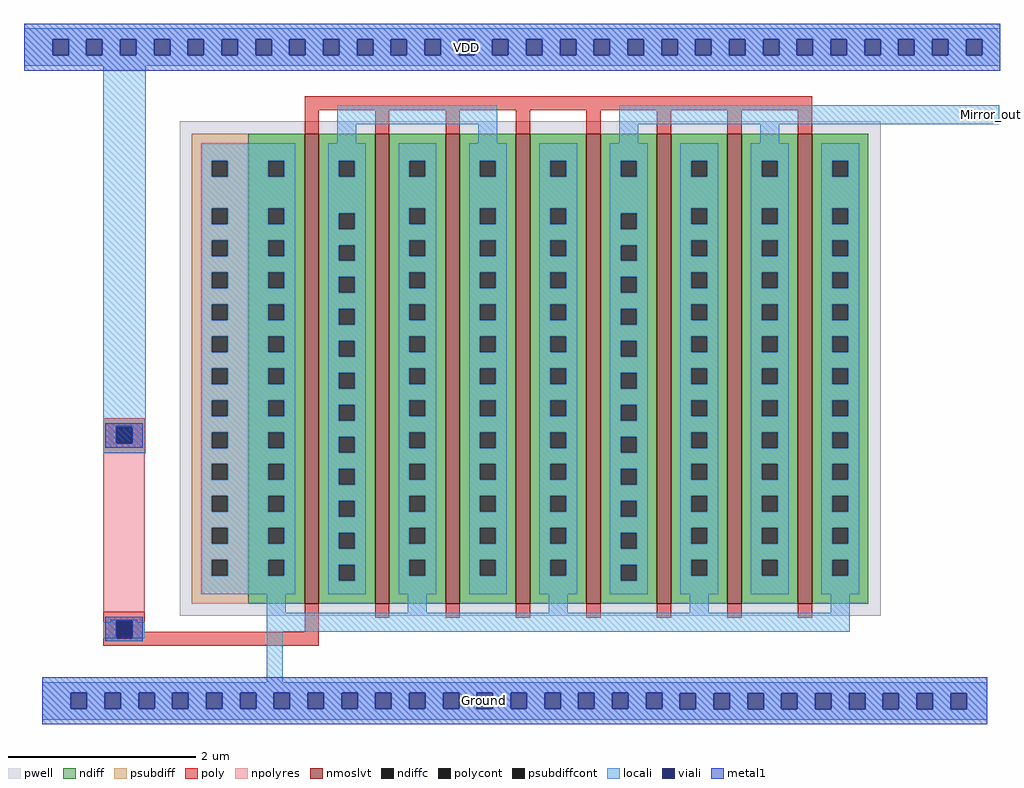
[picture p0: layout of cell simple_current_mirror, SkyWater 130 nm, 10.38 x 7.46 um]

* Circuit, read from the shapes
.subckt simple_current_mirror Ground VDD Mirror_out
XM1 n1 n2 Ground Ground sky130_fd_pr__nfet_01v8_lvt w=5 l=0.15 m=4
XM2 Mirror_out n2 Ground Ground sky130_fd_pr__nfet_01v8_lvt w=5 l=0.15 m=4
R3 VDD n2 sky130_fd_pr__res_generic_po w=0.44 l=1.69
.ends

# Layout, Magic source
magic
tech sky130A
magscale 1 2
<< poly >>
rect 778 1110 898 1140
rect 298 0 328 30
rect -50 -30 328 0
<< locali >>
rect -299 1261 1778 1284
rect -299 1227 -238 1261
rect -204 1227 -166 1261
rect -132 1227 -94 1261
rect -60 1227 -22 1261
rect 12 1227 50 1261
rect 84 1227 122 1261
rect 156 1227 194 1261
rect 228 1227 266 1261
rect 300 1227 338 1261
rect 372 1227 410 1261
rect 444 1227 482 1261
rect 516 1227 554 1261
rect 588 1227 626 1261
rect 660 1227 698 1261
rect 732 1227 770 1261
rect 804 1227 842 1261
rect 876 1227 914 1261
rect 948 1227 986 1261
rect 1020 1227 1058 1261
rect 1092 1227 1130 1261
rect 1164 1227 1202 1261
rect 1236 1227 1274 1261
rect 1308 1227 1346 1261
rect 1380 1227 1418 1261
rect 1452 1227 1490 1261
rect 1524 1227 1562 1261
rect 1596 1227 1634 1261
rect 1668 1227 1706 1261
rect 1740 1227 1778 1261
rect -299 1204 1778 1227
rect -130 380 -40 1204
rect 1308 1080 1776 1120
rect 218 -107 252 0
rect -260 -130 1751 -107
rect -260 -164 -199 -130
rect -165 -164 -127 -130
rect -93 -164 -55 -130
rect -21 -164 17 -130
rect 51 -164 89 -130
rect 123 -164 161 -130
rect 195 -164 233 -130
rect 267 -164 305 -130
rect 339 -164 377 -130
rect 411 -164 449 -130
rect 483 -164 521 -130
rect 555 -164 593 -130
rect 627 -164 665 -130
rect 699 -164 737 -130
rect 771 -164 809 -130
rect 843 -164 881 -130
rect 915 -164 953 -130
rect 987 -164 1025 -130
rect 1059 -131 1751 -130
rect 1059 -164 1097 -131
rect -260 -165 1097 -164
rect 1131 -165 1169 -131
rect 1203 -165 1241 -131
rect 1275 -165 1313 -131
rect 1347 -165 1385 -131
rect 1419 -165 1457 -131
rect 1491 -165 1529 -131
rect 1563 -165 1601 -131
rect 1635 -165 1673 -131
rect 1707 -165 1751 -131
rect -260 -187 1751 -165
<< viali >>
rect -238 1227 -204 1261
rect -166 1227 -132 1261
rect -94 1227 -60 1261
rect -22 1227 12 1261
rect 50 1227 84 1261
rect 122 1227 156 1261
rect 194 1227 228 1261
rect 266 1227 300 1261
rect 338 1227 372 1261
rect 410 1227 444 1261
rect 482 1227 516 1261
rect 554 1227 588 1261
rect 626 1227 660 1261
rect 698 1227 732 1261
rect 770 1227 804 1261
rect 842 1227 876 1261
rect 914 1227 948 1261
rect 986 1227 1020 1261
rect 1058 1227 1092 1261
rect 1130 1227 1164 1261
rect 1202 1227 1236 1261
rect 1274 1227 1308 1261
rect 1346 1227 1380 1261
rect 1418 1227 1452 1261
rect 1490 1227 1524 1261
rect 1562 1227 1596 1261
rect 1634 1227 1668 1261
rect 1706 1227 1740 1261
rect -199 -164 -165 -130
rect -127 -164 -93 -130
rect -55 -164 -21 -130
rect 17 -164 51 -130
rect 89 -164 123 -130
rect 161 -164 195 -130
rect 233 -164 267 -130
rect 305 -164 339 -130
rect 377 -164 411 -130
rect 449 -164 483 -130
rect 521 -164 555 -130
rect 593 -164 627 -130
rect 665 -164 699 -130
rect 737 -164 771 -130
rect 809 -164 843 -130
rect 881 -164 915 -130
rect 953 -164 987 -130
rect 1025 -164 1059 -130
rect 1097 -165 1131 -131
rect 1169 -165 1203 -131
rect 1241 -165 1275 -131
rect 1313 -165 1347 -131
rect 1385 -165 1419 -131
rect 1457 -165 1491 -131
rect 1529 -165 1563 -131
rect 1601 -165 1635 -131
rect 1673 -165 1707 -131
<< metal1 >>
rect -299 1261 1778 1294
rect -299 1227 -238 1261
rect -204 1227 -166 1261
rect -132 1227 -94 1261
rect -60 1227 -22 1261
rect 12 1227 50 1261
rect 84 1227 122 1261
rect 156 1227 194 1261
rect 228 1227 266 1261
rect 300 1227 338 1261
rect 372 1227 410 1261
rect 444 1227 482 1261
rect 516 1227 554 1261
rect 588 1227 626 1261
rect 660 1227 698 1261
rect 732 1227 770 1261
rect 804 1227 842 1261
rect 876 1227 914 1261
rect 948 1227 986 1261
rect 1020 1227 1058 1261
rect 1092 1227 1130 1261
rect 1164 1227 1202 1261
rect 1236 1227 1274 1261
rect 1308 1227 1346 1261
rect 1380 1227 1418 1261
rect 1452 1227 1490 1261
rect 1524 1227 1562 1261
rect 1596 1227 1634 1261
rect 1668 1227 1706 1261
rect 1740 1227 1778 1261
rect -299 1194 1778 1227
rect -260 -130 1751 -97
rect -260 -164 -199 -130
rect -165 -164 -127 -130
rect -93 -164 -55 -130
rect -21 -164 17 -130
rect 51 -164 89 -130
rect 123 -164 161 -130
rect 195 -164 233 -130
rect 267 -164 305 -130
rect 339 -164 377 -130
rect 411 -164 449 -130
rect 483 -164 521 -130
rect 555 -164 593 -130
rect 627 -164 665 -130
rect 699 -164 737 -130
rect 771 -164 809 -130
rect 843 -164 881 -130
rect 915 -164 953 -130
rect 987 -164 1025 -130
rect 1059 -131 1751 -130
rect 1059 -164 1097 -131
rect -260 -165 1097 -164
rect 1131 -165 1169 -131
rect 1203 -165 1241 -131
rect 1275 -165 1313 -131
rect 1347 -165 1385 -131
rect 1419 -165 1457 -131
rect 1491 -165 1529 -131
rect 1563 -165 1601 -131
rect 1635 -165 1673 -131
rect 1707 -165 1751 -131
rect -260 -197 1751 -165
use nmos_1v8_lvt_5p0_4finger  nmos_1v8_lvt_5p0_4finger_0
transform 1 0 1888 0 1 40
box -1136 -40 -364 1100
use nmos_1v8_lvt_5p0_body_4finger  nmos_1v8_lvt_5p0_body_4finger_0
transform 1 0 1288 0 1 40
box -1256 -40 -364 1100
use sky130_fd_pr__res_generic_po_RWRVR8  sky130_fd_pr__res_generic_po_RWRVR8_0
transform 1 0 -86 0 1 212
box -44 -242 44 242
<< labels >>
flabel metal1 s 664 -164 699 -130 2 FreeSans 5000 0 0 0 Ground
port 1 nsew
flabel metal1 s 626 1227 660 1261 2 FreeSans 5000 0 0 0 VDD
port 2 nsew
flabel locali s 746 -148 746 -148 2 FreeSans 5000 0 0 0 Ground
port 1 nsew
flabel locali s 1749 1090 1771 1110 2 FreeSans 5000 0 0 0 Mirror_out
port 3 nsew
<< end >>

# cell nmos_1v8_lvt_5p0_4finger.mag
magic
tech sky130A
magscale 1 2
<< pwell >>
rect -1136 -6 -364 1046
<< nmoslvt >>
rect -990 20 -960 1020
rect -840 20 -810 1020
rect -690 20 -660 1020
rect -540 20 -510 1020
<< ndiff >>
rect -1110 962 -990 1020
rect -1110 928 -1067 962
rect -1033 928 -990 962
rect -1110 861 -990 928
rect -1110 827 -1067 861
rect -1033 827 -990 861
rect -1110 793 -990 827
rect -1110 759 -1067 793
rect -1033 759 -990 793
rect -1110 725 -990 759
rect -1110 691 -1067 725
rect -1033 691 -990 725
rect -1110 657 -990 691
rect -1110 623 -1067 657
rect -1033 623 -990 657
rect -1110 589 -990 623
rect -1110 555 -1067 589
rect -1033 555 -990 589
rect -1110 521 -990 555
rect -1110 487 -1067 521
rect -1033 487 -990 521
rect -1110 453 -990 487
rect -1110 419 -1067 453
rect -1033 419 -990 453
rect -1110 385 -990 419
rect -1110 351 -1067 385
rect -1033 351 -990 385
rect -1110 317 -990 351
rect -1110 283 -1067 317
rect -1033 283 -990 317
rect -1110 249 -990 283
rect -1110 215 -1067 249
rect -1033 215 -990 249
rect -1110 181 -990 215
rect -1110 147 -1067 181
rect -1033 147 -990 181
rect -1110 113 -990 147
rect -1110 79 -1067 113
rect -1033 79 -990 113
rect -1110 20 -990 79
rect -960 962 -840 1020
rect -960 928 -917 962
rect -883 928 -840 962
rect -960 851 -840 928
rect -960 817 -917 851
rect -883 817 -840 851
rect -960 783 -840 817
rect -960 749 -917 783
rect -883 749 -840 783
rect -960 715 -840 749
rect -960 681 -917 715
rect -883 681 -840 715
rect -960 647 -840 681
rect -960 613 -917 647
rect -883 613 -840 647
rect -960 579 -840 613
rect -960 545 -917 579
rect -883 545 -840 579
rect -960 511 -840 545
rect -960 477 -917 511
rect -883 477 -840 511
rect -960 443 -840 477
rect -960 409 -917 443
rect -883 409 -840 443
rect -960 375 -840 409
rect -960 341 -917 375
rect -883 341 -840 375
rect -960 307 -840 341
rect -960 273 -917 307
rect -883 273 -840 307
rect -960 239 -840 273
rect -960 205 -917 239
rect -883 205 -840 239
rect -960 171 -840 205
rect -960 137 -917 171
rect -883 137 -840 171
rect -960 103 -840 137
rect -960 69 -917 103
rect -883 69 -840 103
rect -960 20 -840 69
rect -810 962 -690 1020
rect -810 928 -767 962
rect -733 928 -690 962
rect -810 861 -690 928
rect -810 827 -767 861
rect -733 827 -690 861
rect -810 793 -690 827
rect -810 759 -767 793
rect -733 759 -690 793
rect -810 725 -690 759
rect -810 691 -767 725
rect -733 691 -690 725
rect -810 657 -690 691
rect -810 623 -767 657
rect -733 623 -690 657
rect -810 589 -690 623
rect -810 555 -767 589
rect -733 555 -690 589
rect -810 521 -690 555
rect -810 487 -767 521
rect -733 487 -690 521
rect -810 453 -690 487
rect -810 419 -767 453
rect -733 419 -690 453
rect -810 385 -690 419
rect -810 351 -767 385
rect -733 351 -690 385
rect -810 317 -690 351
rect -810 283 -767 317
rect -733 283 -690 317
rect -810 249 -690 283
rect -810 215 -767 249
rect -733 215 -690 249
rect -810 181 -690 215
rect -810 147 -767 181
rect -733 147 -690 181
rect -810 113 -690 147
rect -810 79 -767 113
rect -733 79 -690 113
rect -810 20 -690 79
rect -660 962 -540 1020
rect -660 928 -617 962
rect -583 928 -540 962
rect -660 861 -540 928
rect -660 827 -617 861
rect -583 827 -540 861
rect -660 793 -540 827
rect -660 759 -617 793
rect -583 759 -540 793
rect -660 725 -540 759
rect -660 691 -617 725
rect -583 691 -540 725
rect -660 657 -540 691
rect -660 623 -617 657
rect -583 623 -540 657
rect -660 589 -540 623
rect -660 555 -617 589
rect -583 555 -540 589
rect -660 521 -540 555
rect -660 487 -617 521
rect -583 487 -540 521
rect -660 453 -540 487
rect -660 419 -617 453
rect -583 419 -540 453
rect -660 385 -540 419
rect -660 351 -617 385
rect -583 351 -540 385
rect -660 317 -540 351
rect -660 283 -617 317
rect -583 283 -540 317
rect -660 249 -540 283
rect -660 215 -617 249
rect -583 215 -540 249
rect -660 181 -540 215
rect -660 147 -617 181
rect -583 147 -540 181
rect -660 113 -540 147
rect -660 79 -617 113
rect -583 79 -540 113
rect -660 20 -540 79
rect -510 962 -390 1020
rect -510 928 -467 962
rect -433 928 -390 962
rect -510 861 -390 928
rect -510 827 -467 861
rect -433 827 -390 861
rect -510 793 -390 827
rect -510 759 -467 793
rect -433 759 -390 793
rect -510 725 -390 759
rect -510 691 -467 725
rect -433 691 -390 725
rect -510 657 -390 691
rect -510 623 -467 657
rect -433 623 -390 657
rect -510 589 -390 623
rect -510 555 -467 589
rect -433 555 -390 589
rect -510 521 -390 555
rect -510 487 -467 521
rect -433 487 -390 521
rect -510 453 -390 487
rect -510 419 -467 453
rect -433 419 -390 453
rect -510 385 -390 419
rect -510 351 -467 385
rect -433 351 -390 385
rect -510 317 -390 351
rect -510 283 -467 317
rect -433 283 -390 317
rect -510 249 -390 283
rect -510 215 -467 249
rect -433 215 -390 249
rect -510 181 -390 215
rect -510 147 -467 181
rect -433 147 -390 181
rect -510 113 -390 147
rect -510 79 -467 113
rect -433 79 -390 113
rect -510 20 -390 79
<< ndiffc >>
rect -1067 928 -1033 962
rect -1067 827 -1033 861
rect -1067 759 -1033 793
rect -1067 691 -1033 725
rect -1067 623 -1033 657
rect -1067 555 -1033 589
rect -1067 487 -1033 521
rect -1067 419 -1033 453
rect -1067 351 -1033 385
rect -1067 283 -1033 317
rect -1067 215 -1033 249
rect -1067 147 -1033 181
rect -1067 79 -1033 113
rect -917 928 -883 962
rect -917 817 -883 851
rect -917 749 -883 783
rect -917 681 -883 715
rect -917 613 -883 647
rect -917 545 -883 579
rect -917 477 -883 511
rect -917 409 -883 443
rect -917 341 -883 375
rect -917 273 -883 307
rect -917 205 -883 239
rect -917 137 -883 171
rect -917 69 -883 103
rect -767 928 -733 962
rect -767 827 -733 861
rect -767 759 -733 793
rect -767 691 -733 725
rect -767 623 -733 657
rect -767 555 -733 589
rect -767 487 -733 521
rect -767 419 -733 453
rect -767 351 -733 385
rect -767 283 -733 317
rect -767 215 -733 249
rect -767 147 -733 181
rect -767 79 -733 113
rect -617 928 -583 962
rect -617 827 -583 861
rect -617 759 -583 793
rect -617 691 -583 725
rect -617 623 -583 657
rect -617 555 -583 589
rect -617 487 -583 521
rect -617 419 -583 453
rect -617 351 -583 385
rect -617 283 -583 317
rect -617 215 -583 249
rect -617 147 -583 181
rect -617 79 -583 113
rect -467 928 -433 962
rect -467 827 -433 861
rect -467 759 -433 793
rect -467 691 -433 725
rect -467 623 -433 657
rect -467 555 -433 589
rect -467 487 -433 521
rect -467 419 -433 453
rect -467 351 -433 385
rect -467 283 -433 317
rect -467 215 -433 249
rect -467 147 -433 181
rect -467 79 -433 113
<< poly >>
rect -990 1070 -510 1100
rect -990 1020 -960 1070
rect -840 1020 -810 1070
rect -690 1020 -660 1070
rect -540 1020 -510 1070
rect -990 -10 -960 20
rect -840 -10 -810 20
rect -690 -10 -660 20
rect -540 -10 -510 20
<< locali >>
rect -920 1040 -580 1080
rect -920 1000 -880 1040
rect -620 1000 -580 1040
rect -1090 962 -1010 1000
rect -1090 928 -1067 962
rect -1033 928 -1010 962
rect -1090 861 -1010 928
rect -1090 827 -1067 861
rect -1033 827 -1010 861
rect -1090 793 -1010 827
rect -1090 759 -1067 793
rect -1033 759 -1010 793
rect -1090 725 -1010 759
rect -1090 691 -1067 725
rect -1033 691 -1010 725
rect -1090 657 -1010 691
rect -1090 623 -1067 657
rect -1033 623 -1010 657
rect -1090 589 -1010 623
rect -1090 555 -1067 589
rect -1033 555 -1010 589
rect -1090 521 -1010 555
rect -1090 487 -1067 521
rect -1033 487 -1010 521
rect -1090 453 -1010 487
rect -1090 419 -1067 453
rect -1033 419 -1010 453
rect -1090 385 -1010 419
rect -1090 351 -1067 385
rect -1033 351 -1010 385
rect -1090 317 -1010 351
rect -1090 283 -1067 317
rect -1033 283 -1010 317
rect -1090 249 -1010 283
rect -1090 215 -1067 249
rect -1033 215 -1010 249
rect -1090 181 -1010 215
rect -1090 147 -1067 181
rect -1033 147 -1010 181
rect -1090 113 -1010 147
rect -1090 79 -1067 113
rect -1033 79 -1010 113
rect -1090 40 -1010 79
rect -940 962 -860 1000
rect -940 928 -917 962
rect -883 928 -860 962
rect -940 851 -860 928
rect -940 817 -917 851
rect -883 817 -860 851
rect -940 783 -860 817
rect -940 749 -917 783
rect -883 749 -860 783
rect -940 715 -860 749
rect -940 681 -917 715
rect -883 681 -860 715
rect -940 647 -860 681
rect -940 613 -917 647
rect -883 613 -860 647
rect -940 579 -860 613
rect -940 545 -917 579
rect -883 545 -860 579
rect -940 511 -860 545
rect -940 477 -917 511
rect -883 477 -860 511
rect -940 443 -860 477
rect -940 409 -917 443
rect -883 409 -860 443
rect -940 375 -860 409
rect -940 341 -917 375
rect -883 341 -860 375
rect -940 307 -860 341
rect -940 273 -917 307
rect -883 273 -860 307
rect -940 239 -860 273
rect -940 205 -917 239
rect -883 205 -860 239
rect -940 171 -860 205
rect -940 137 -917 171
rect -883 137 -860 171
rect -940 103 -860 137
rect -940 69 -917 103
rect -883 69 -860 103
rect -940 40 -860 69
rect -790 962 -710 1000
rect -790 928 -767 962
rect -733 928 -710 962
rect -790 861 -710 928
rect -790 827 -767 861
rect -733 827 -710 861
rect -790 793 -710 827
rect -790 759 -767 793
rect -733 759 -710 793
rect -790 725 -710 759
rect -790 691 -767 725
rect -733 691 -710 725
rect -790 657 -710 691
rect -790 623 -767 657
rect -733 623 -710 657
rect -790 589 -710 623
rect -790 555 -767 589
rect -733 555 -710 589
rect -790 521 -710 555
rect -790 487 -767 521
rect -733 487 -710 521
rect -790 453 -710 487
rect -790 419 -767 453
rect -733 419 -710 453
rect -790 385 -710 419
rect -790 351 -767 385
rect -733 351 -710 385
rect -790 317 -710 351
rect -790 283 -767 317
rect -733 283 -710 317
rect -790 249 -710 283
rect -790 215 -767 249
rect -733 215 -710 249
rect -790 181 -710 215
rect -790 147 -767 181
rect -733 147 -710 181
rect -790 113 -710 147
rect -790 79 -767 113
rect -733 79 -710 113
rect -790 40 -710 79
rect -640 962 -560 1000
rect -640 928 -617 962
rect -583 928 -560 962
rect -640 861 -560 928
rect -640 827 -617 861
rect -583 827 -560 861
rect -640 793 -560 827
rect -640 759 -617 793
rect -583 759 -560 793
rect -640 725 -560 759
rect -640 691 -617 725
rect -583 691 -560 725
rect -640 657 -560 691
rect -640 623 -617 657
rect -583 623 -560 657
rect -640 589 -560 623
rect -640 555 -617 589
rect -583 555 -560 589
rect -640 521 -560 555
rect -640 487 -617 521
rect -583 487 -560 521
rect -640 453 -560 487
rect -640 419 -617 453
rect -583 419 -560 453
rect -640 385 -560 419
rect -640 351 -617 385
rect -583 351 -560 385
rect -640 317 -560 351
rect -640 283 -617 317
rect -583 283 -560 317
rect -640 249 -560 283
rect -640 215 -617 249
rect -583 215 -560 249
rect -640 181 -560 215
rect -640 147 -617 181
rect -583 147 -560 181
rect -640 113 -560 147
rect -640 79 -617 113
rect -583 79 -560 113
rect -640 40 -560 79
rect -490 962 -410 1000
rect -490 928 -467 962
rect -433 928 -410 962
rect -490 861 -410 928
rect -490 827 -467 861
rect -433 827 -410 861
rect -490 793 -410 827
rect -490 759 -467 793
rect -433 759 -410 793
rect -490 725 -410 759
rect -490 691 -467 725
rect -433 691 -410 725
rect -490 657 -410 691
rect -490 623 -467 657
rect -433 623 -410 657
rect -490 589 -410 623
rect -490 555 -467 589
rect -433 555 -410 589
rect -490 521 -410 555
rect -490 487 -467 521
rect -433 487 -410 521
rect -490 453 -410 487
rect -490 419 -467 453
rect -433 419 -410 453
rect -490 385 -410 419
rect -490 351 -467 385
rect -433 351 -410 385
rect -490 317 -410 351
rect -490 283 -467 317
rect -433 283 -410 317
rect -490 249 -410 283
rect -490 215 -467 249
rect -433 215 -410 249
rect -490 181 -410 215
rect -490 147 -467 181
rect -433 147 -410 181
rect -490 113 -410 147
rect -490 79 -467 113
rect -433 79 -410 113
rect -490 40 -410 79
rect -1070 0 -1030 40
rect -770 0 -730 40
rect -470 0 -430 40
rect -1070 -40 -430 0
<< end >>

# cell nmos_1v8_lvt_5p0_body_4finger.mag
magic
tech sky130A
magscale 1 2
<< pwell >>
rect -1256 -6 -364 1046
<< nmoslvt >>
rect -990 20 -960 1020
rect -840 20 -810 1020
rect -690 20 -660 1020
rect -540 20 -510 1020
<< ndiff >>
rect -1110 962 -990 1020
rect -1110 928 -1067 962
rect -1033 928 -990 962
rect -1110 861 -990 928
rect -1110 827 -1067 861
rect -1033 827 -990 861
rect -1110 793 -990 827
rect -1110 759 -1067 793
rect -1033 759 -990 793
rect -1110 725 -990 759
rect -1110 691 -1067 725
rect -1033 691 -990 725
rect -1110 657 -990 691
rect -1110 623 -1067 657
rect -1033 623 -990 657
rect -1110 589 -990 623
rect -1110 555 -1067 589
rect -1033 555 -990 589
rect -1110 521 -990 555
rect -1110 487 -1067 521
rect -1033 487 -990 521
rect -1110 453 -990 487
rect -1110 419 -1067 453
rect -1033 419 -990 453
rect -1110 385 -990 419
rect -1110 351 -1067 385
rect -1033 351 -990 385
rect -1110 317 -990 351
rect -1110 283 -1067 317
rect -1033 283 -990 317
rect -1110 249 -990 283
rect -1110 215 -1067 249
rect -1033 215 -990 249
rect -1110 181 -990 215
rect -1110 147 -1067 181
rect -1033 147 -990 181
rect -1110 113 -990 147
rect -1110 79 -1067 113
rect -1033 79 -990 113
rect -1110 20 -990 79
rect -960 962 -840 1020
rect -960 928 -917 962
rect -883 928 -840 962
rect -960 851 -840 928
rect -960 817 -917 851
rect -883 817 -840 851
rect -960 783 -840 817
rect -960 749 -917 783
rect -883 749 -840 783
rect -960 715 -840 749
rect -960 681 -917 715
rect -883 681 -840 715
rect -960 647 -840 681
rect -960 613 -917 647
rect -883 613 -840 647
rect -960 579 -840 613
rect -960 545 -917 579
rect -883 545 -840 579
rect -960 511 -840 545
rect -960 477 -917 511
rect -883 477 -840 511
rect -960 443 -840 477
rect -960 409 -917 443
rect -883 409 -840 443
rect -960 375 -840 409
rect -960 341 -917 375
rect -883 341 -840 375
rect -960 307 -840 341
rect -960 273 -917 307
rect -883 273 -840 307
rect -960 239 -840 273
rect -960 205 -917 239
rect -883 205 -840 239
rect -960 171 -840 205
rect -960 137 -917 171
rect -883 137 -840 171
rect -960 103 -840 137
rect -960 69 -917 103
rect -883 69 -840 103
rect -960 20 -840 69
rect -810 962 -690 1020
rect -810 928 -767 962
rect -733 928 -690 962
rect -810 861 -690 928
rect -810 827 -767 861
rect -733 827 -690 861
rect -810 793 -690 827
rect -810 759 -767 793
rect -733 759 -690 793
rect -810 725 -690 759
rect -810 691 -767 725
rect -733 691 -690 725
rect -810 657 -690 691
rect -810 623 -767 657
rect -733 623 -690 657
rect -810 589 -690 623
rect -810 555 -767 589
rect -733 555 -690 589
rect -810 521 -690 555
rect -810 487 -767 521
rect -733 487 -690 521
rect -810 453 -690 487
rect -810 419 -767 453
rect -733 419 -690 453
rect -810 385 -690 419
rect -810 351 -767 385
rect -733 351 -690 385
rect -810 317 -690 351
rect -810 283 -767 317
rect -733 283 -690 317
rect -810 249 -690 283
rect -810 215 -767 249
rect -733 215 -690 249
rect -810 181 -690 215
rect -810 147 -767 181
rect -733 147 -690 181
rect -810 113 -690 147
rect -810 79 -767 113
rect -733 79 -690 113
rect -810 20 -690 79
rect -660 962 -540 1020
rect -660 928 -617 962
rect -583 928 -540 962
rect -660 861 -540 928
rect -660 827 -617 861
rect -583 827 -540 861
rect -660 793 -540 827
rect -660 759 -617 793
rect -583 759 -540 793
rect -660 725 -540 759
rect -660 691 -617 725
rect -583 691 -540 725
rect -660 657 -540 691
rect -660 623 -617 657
rect -583 623 -540 657
rect -660 589 -540 623
rect -660 555 -617 589
rect -583 555 -540 589
rect -660 521 -540 555
rect -660 487 -617 521
rect -583 487 -540 521
rect -660 453 -540 487
rect -660 419 -617 453
rect -583 419 -540 453
rect -660 385 -540 419
rect -660 351 -617 385
rect -583 351 -540 385
rect -660 317 -540 351
rect -660 283 -617 317
rect -583 283 -540 317
rect -660 249 -540 283
rect -660 215 -617 249
rect -583 215 -540 249
rect -660 181 -540 215
rect -660 147 -617 181
rect -583 147 -540 181
rect -660 113 -540 147
rect -660 79 -617 113
rect -583 79 -540 113
rect -660 20 -540 79
rect -510 962 -390 1020
rect -510 928 -467 962
rect -433 928 -390 962
rect -510 861 -390 928
rect -510 827 -467 861
rect -433 827 -390 861
rect -510 793 -390 827
rect -510 759 -467 793
rect -433 759 -390 793
rect -510 725 -390 759
rect -510 691 -467 725
rect -433 691 -390 725
rect -510 657 -390 691
rect -510 623 -467 657
rect -433 623 -390 657
rect -510 589 -390 623
rect -510 555 -467 589
rect -433 555 -390 589
rect -510 521 -390 555
rect -510 487 -467 521
rect -433 487 -390 521
rect -510 453 -390 487
rect -510 419 -467 453
rect -433 419 -390 453
rect -510 385 -390 419
rect -510 351 -467 385
rect -433 351 -390 385
rect -510 317 -390 351
rect -510 283 -467 317
rect -433 283 -390 317
rect -510 249 -390 283
rect -510 215 -467 249
rect -433 215 -390 249
rect -510 181 -390 215
rect -510 147 -467 181
rect -433 147 -390 181
rect -510 113 -390 147
rect -510 79 -467 113
rect -433 79 -390 113
rect -510 20 -390 79
<< ndiffc >>
rect -1067 928 -1033 962
rect -1067 827 -1033 861
rect -1067 759 -1033 793
rect -1067 691 -1033 725
rect -1067 623 -1033 657
rect -1067 555 -1033 589
rect -1067 487 -1033 521
rect -1067 419 -1033 453
rect -1067 351 -1033 385
rect -1067 283 -1033 317
rect -1067 215 -1033 249
rect -1067 147 -1033 181
rect -1067 79 -1033 113
rect -917 928 -883 962
rect -917 817 -883 851
rect -917 749 -883 783
rect -917 681 -883 715
rect -917 613 -883 647
rect -917 545 -883 579
rect -917 477 -883 511
rect -917 409 -883 443
rect -917 341 -883 375
rect -917 273 -883 307
rect -917 205 -883 239
rect -917 137 -883 171
rect -917 69 -883 103
rect -767 928 -733 962
rect -767 827 -733 861
rect -767 759 -733 793
rect -767 691 -733 725
rect -767 623 -733 657
rect -767 555 -733 589
rect -767 487 -733 521
rect -767 419 -733 453
rect -767 351 -733 385
rect -767 283 -733 317
rect -767 215 -733 249
rect -767 147 -733 181
rect -767 79 -733 113
rect -617 928 -583 962
rect -617 827 -583 861
rect -617 759 -583 793
rect -617 691 -583 725
rect -617 623 -583 657
rect -617 555 -583 589
rect -617 487 -583 521
rect -617 419 -583 453
rect -617 351 -583 385
rect -617 283 -583 317
rect -617 215 -583 249
rect -617 147 -583 181
rect -617 79 -583 113
rect -467 928 -433 962
rect -467 827 -433 861
rect -467 759 -433 793
rect -467 691 -433 725
rect -467 623 -433 657
rect -467 555 -433 589
rect -467 487 -433 521
rect -467 419 -433 453
rect -467 351 -433 385
rect -467 283 -433 317
rect -467 215 -433 249
rect -467 147 -433 181
rect -467 79 -433 113
<< psubdiff >>
rect -1230 962 -1110 1020
rect -1230 928 -1187 962
rect -1153 928 -1110 962
rect -1230 861 -1110 928
rect -1230 827 -1187 861
rect -1153 827 -1110 861
rect -1230 793 -1110 827
rect -1230 759 -1187 793
rect -1153 759 -1110 793
rect -1230 725 -1110 759
rect -1230 691 -1187 725
rect -1153 691 -1110 725
rect -1230 657 -1110 691
rect -1230 623 -1187 657
rect -1153 623 -1110 657
rect -1230 589 -1110 623
rect -1230 555 -1187 589
rect -1153 555 -1110 589
rect -1230 521 -1110 555
rect -1230 487 -1187 521
rect -1153 487 -1110 521
rect -1230 453 -1110 487
rect -1230 419 -1187 453
rect -1153 419 -1110 453
rect -1230 385 -1110 419
rect -1230 351 -1187 385
rect -1153 351 -1110 385
rect -1230 317 -1110 351
rect -1230 283 -1187 317
rect -1153 283 -1110 317
rect -1230 249 -1110 283
rect -1230 215 -1187 249
rect -1153 215 -1110 249
rect -1230 181 -1110 215
rect -1230 147 -1187 181
rect -1153 147 -1110 181
rect -1230 113 -1110 147
rect -1230 79 -1187 113
rect -1153 79 -1110 113
rect -1230 20 -1110 79
<< psubdiffcont >>
rect -1187 928 -1153 962
rect -1187 827 -1153 861
rect -1187 759 -1153 793
rect -1187 691 -1153 725
rect -1187 623 -1153 657
rect -1187 555 -1153 589
rect -1187 487 -1153 521
rect -1187 419 -1153 453
rect -1187 351 -1153 385
rect -1187 283 -1153 317
rect -1187 215 -1153 249
rect -1187 147 -1153 181
rect -1187 79 -1153 113
<< poly >>
rect -990 1070 -510 1100
rect -990 1020 -960 1070
rect -840 1020 -810 1070
rect -690 1020 -660 1070
rect -540 1020 -510 1070
rect -990 -10 -960 20
rect -840 -10 -810 20
rect -690 -10 -660 20
rect -540 -10 -510 20
<< locali >>
rect -920 1040 -580 1080
rect -920 1000 -880 1040
rect -620 1000 -580 1040
rect -1210 962 -1010 1000
rect -1210 928 -1187 962
rect -1153 928 -1067 962
rect -1033 928 -1010 962
rect -1210 861 -1010 928
rect -1210 827 -1187 861
rect -1153 827 -1067 861
rect -1033 827 -1010 861
rect -1210 793 -1010 827
rect -1210 759 -1187 793
rect -1153 759 -1067 793
rect -1033 759 -1010 793
rect -1210 725 -1010 759
rect -1210 691 -1187 725
rect -1153 691 -1067 725
rect -1033 691 -1010 725
rect -1210 657 -1010 691
rect -1210 623 -1187 657
rect -1153 623 -1067 657
rect -1033 623 -1010 657
rect -1210 589 -1010 623
rect -1210 555 -1187 589
rect -1153 555 -1067 589
rect -1033 555 -1010 589
rect -1210 521 -1010 555
rect -1210 487 -1187 521
rect -1153 487 -1067 521
rect -1033 487 -1010 521
rect -1210 453 -1010 487
rect -1210 419 -1187 453
rect -1153 419 -1067 453
rect -1033 419 -1010 453
rect -1210 385 -1010 419
rect -1210 351 -1187 385
rect -1153 351 -1067 385
rect -1033 351 -1010 385
rect -1210 317 -1010 351
rect -1210 283 -1187 317
rect -1153 283 -1067 317
rect -1033 283 -1010 317
rect -1210 249 -1010 283
rect -1210 215 -1187 249
rect -1153 215 -1067 249
rect -1033 215 -1010 249
rect -1210 181 -1010 215
rect -1210 147 -1187 181
rect -1153 147 -1067 181
rect -1033 147 -1010 181
rect -1210 113 -1010 147
rect -1210 79 -1187 113
rect -1153 79 -1067 113
rect -1033 79 -1010 113
rect -1210 40 -1010 79
rect -940 962 -860 1000
rect -940 928 -917 962
rect -883 928 -860 962
rect -940 851 -860 928
rect -940 817 -917 851
rect -883 817 -860 851
rect -940 783 -860 817
rect -940 749 -917 783
rect -883 749 -860 783
rect -940 715 -860 749
rect -940 681 -917 715
rect -883 681 -860 715
rect -940 647 -860 681
rect -940 613 -917 647
rect -883 613 -860 647
rect -940 579 -860 613
rect -940 545 -917 579
rect -883 545 -860 579
rect -940 511 -860 545
rect -940 477 -917 511
rect -883 477 -860 511
rect -940 443 -860 477
rect -940 409 -917 443
rect -883 409 -860 443
rect -940 375 -860 409
rect -940 341 -917 375
rect -883 341 -860 375
rect -940 307 -860 341
rect -940 273 -917 307
rect -883 273 -860 307
rect -940 239 -860 273
rect -940 205 -917 239
rect -883 205 -860 239
rect -940 171 -860 205
rect -940 137 -917 171
rect -883 137 -860 171
rect -940 103 -860 137
rect -940 69 -917 103
rect -883 69 -860 103
rect -940 40 -860 69
rect -790 962 -710 1000
rect -790 928 -767 962
rect -733 928 -710 962
rect -790 861 -710 928
rect -790 827 -767 861
rect -733 827 -710 861
rect -790 793 -710 827
rect -790 759 -767 793
rect -733 759 -710 793
rect -790 725 -710 759
rect -790 691 -767 725
rect -733 691 -710 725
rect -790 657 -710 691
rect -790 623 -767 657
rect -733 623 -710 657
rect -790 589 -710 623
rect -790 555 -767 589
rect -733 555 -710 589
rect -790 521 -710 555
rect -790 487 -767 521
rect -733 487 -710 521
rect -790 453 -710 487
rect -790 419 -767 453
rect -733 419 -710 453
rect -790 385 -710 419
rect -790 351 -767 385
rect -733 351 -710 385
rect -790 317 -710 351
rect -790 283 -767 317
rect -733 283 -710 317
rect -790 249 -710 283
rect -790 215 -767 249
rect -733 215 -710 249
rect -790 181 -710 215
rect -790 147 -767 181
rect -733 147 -710 181
rect -790 113 -710 147
rect -790 79 -767 113
rect -733 79 -710 113
rect -790 40 -710 79
rect -640 962 -560 1000
rect -640 928 -617 962
rect -583 928 -560 962
rect -640 861 -560 928
rect -640 827 -617 861
rect -583 827 -560 861
rect -640 793 -560 827
rect -640 759 -617 793
rect -583 759 -560 793
rect -640 725 -560 759
rect -640 691 -617 725
rect -583 691 -560 725
rect -640 657 -560 691
rect -640 623 -617 657
rect -583 623 -560 657
rect -640 589 -560 623
rect -640 555 -617 589
rect -583 555 -560 589
rect -640 521 -560 555
rect -640 487 -617 521
rect -583 487 -560 521
rect -640 453 -560 487
rect -640 419 -617 453
rect -583 419 -560 453
rect -640 385 -560 419
rect -640 351 -617 385
rect -583 351 -560 385
rect -640 317 -560 351
rect -640 283 -617 317
rect -583 283 -560 317
rect -640 249 -560 283
rect -640 215 -617 249
rect -583 215 -560 249
rect -640 181 -560 215
rect -640 147 -617 181
rect -583 147 -560 181
rect -640 113 -560 147
rect -640 79 -617 113
rect -583 79 -560 113
rect -640 40 -560 79
rect -490 962 -410 1000
rect -490 928 -467 962
rect -433 928 -410 962
rect -490 861 -410 928
rect -490 827 -467 861
rect -433 827 -410 861
rect -490 793 -410 827
rect -490 759 -467 793
rect -433 759 -410 793
rect -490 725 -410 759
rect -490 691 -467 725
rect -433 691 -410 725
rect -490 657 -410 691
rect -490 623 -467 657
rect -433 623 -410 657
rect -490 589 -410 623
rect -490 555 -467 589
rect -433 555 -410 589
rect -490 521 -410 555
rect -490 487 -467 521
rect -433 487 -410 521
rect -490 453 -410 487
rect -490 419 -467 453
rect -433 419 -410 453
rect -490 385 -410 419
rect -490 351 -467 385
rect -433 351 -410 385
rect -490 317 -410 351
rect -490 283 -467 317
rect -433 283 -410 317
rect -490 249 -410 283
rect -490 215 -467 249
rect -433 215 -410 249
rect -490 181 -410 215
rect -490 147 -467 181
rect -433 147 -410 181
rect -490 113 -410 147
rect -490 79 -467 113
rect -433 79 -410 113
rect -490 40 -410 79
rect -1070 0 -1030 40
rect -770 0 -730 40
rect -470 0 -430 40
rect -1070 -40 -430 0
<< end >>

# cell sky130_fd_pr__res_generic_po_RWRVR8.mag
magic
tech sky130A
magscale 1 2
<< poly >>
rect -44 226 44 242
rect -44 192 -17 226
rect 17 192 44 226
rect -44 169 44 192
rect -44 -192 44 -169
rect -44 -226 -17 -192
rect 17 -226 44 -192
rect -44 -242 44 -226
<< polycont >>
rect -17 192 17 226
rect -17 -226 17 -192
<< npolyres >>
rect -44 -169 44 169
<< locali >>
rect -44 192 -17 226
rect 17 192 44 226
rect -28 189 -17 192
rect 17 189 28 192
rect -28 186 28 189
rect -28 -189 28 -186
rect -28 -192 -17 -189
rect 17 -192 28 -189
rect -44 -226 -17 -192
rect 17 -226 44 -192
<< viali >>
rect -17 192 17 223
rect -17 189 17 192
rect -17 -192 17 -189
rect -17 -223 17 -192
<< metal1 >>
rect -40 223 40 232
rect -40 189 -17 223
rect 17 189 40 223
rect -40 180 40 189
rect -40 -189 40 -180
rect -40 -223 -17 -189
rect 17 -223 40 -189
rect -40 -232 40 -223
<< end >>
